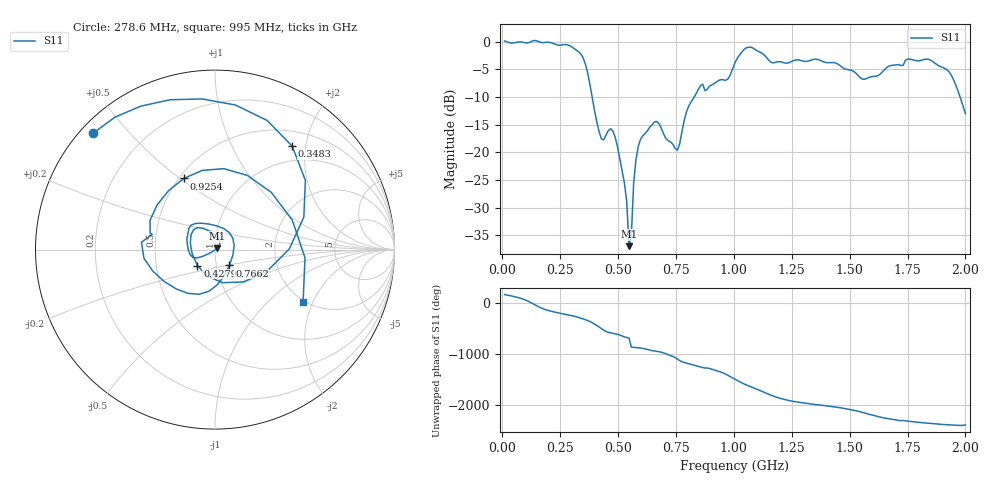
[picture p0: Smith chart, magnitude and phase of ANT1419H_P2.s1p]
!Created with skrf (http://scikit-rf.org).
# Hz S RI R 50.0
!freq ReS11 ImS11
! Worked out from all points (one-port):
!   201 points, 10 MHz to 2 GHz, reference 50 ohm
!   lowest |S11| = -37.0 dB at 547.3 MHz (marker M1), VSWR 1.03, Z = 51.2 + j0.844 ohm
!   |S11| at or under -10 dB: 387.9 MHz to 829.1 MHz (441.2 MHz wide, 72.5 % of centre); 1.977 GHz to end of sweep
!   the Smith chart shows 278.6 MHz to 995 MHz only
!   S11 on the Smith chart (normalised r, x): 278.6 MHz: 0.04, +0.40; 348.3 MHz: 0.73, +1.75; 427.9 MHz: 0.81, -0.15; 766.2 MHz: 1.16, -0.21; 925.4 MHz: 0.53, +0.52; 995 MHz: 1.96, -1.69
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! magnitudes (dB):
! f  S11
! 10 MHz  0.1
! 258.8 MHz  -0.6
! 278.6 MHz  -0.5
! 348.3 MHz  -2.9
! 427.9 MHz  -17.6
! 477.6 MHz  -16.1
! 507.5 MHz  -21.2
! 537.4 MHz  -28.9
! 547.3 MHz  -37.0
! 557.2 MHz  -35.2
! 567.2 MHz  -25.7
! 577.1 MHz  -21.4
! 597 MHz  -17.7
! 666.7 MHz  -14.4
! 756.2 MHz  -19.6
! 766.2 MHz  -18.5
! 796 MHz  -12.6
! 855.8 MHz  -8.0
! 925.4 MHz  -7.3
! 995 MHz  -4.9
! 1.005 GHz  -3.8
! 1.065 GHz  -1.0
! 1.254 GHz  -3.5
! 1.502 GHz  -5.1
! 1.562 GHz  -6.8
! 1.751 GHz  -3.2
! 1.92 GHz  -5.1
! 2 GHz  -13.0
